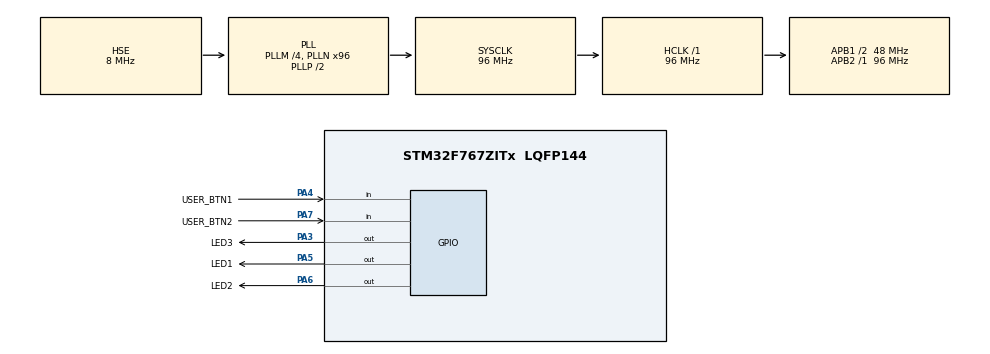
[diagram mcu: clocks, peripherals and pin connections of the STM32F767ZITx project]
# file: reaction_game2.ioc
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Mcu.Family=STM32F7
Mcu.Name=STM32F767ZITx
Mcu.Package=LQFP144
NVIC.PriorityGroup=NVIC_PRIORITYGROUP_4
PA3.GPIO_Label=LED3
PA3.Signal=GPIO_Output
PA4.GPIO_Label=USER_BTN1
PA4.Signal=GPIO_Input
PA5.GPIO_Label=LED1
PA5.Signal=GPIO_Output
PA6.GPIO_Label=LED2
PA6.Signal=GPIO_Output
PA7.GPIO_Label=USER_BTN2
PA7.Signal=GPIO_Input
PH0/OSC_IN.Mode=HSE-External-Oscillator
PH0/OSC_IN.Signal=RCC_OSC_IN
PH1/OSC_OUT.Mode=HSE-External-Oscillator
PH1/OSC_OUT.Signal=RCC_OSC_OUT
ProjectManager.HeapSize=0x200
ProjectManager.StackSize=0x400
ProjectManager.TargetToolchain=STM32CubeIDE
RCC.48MHZClocksFreq_Value=24000000
RCC.AHBFreq_Value=96000000
RCC.APB1CLKDivider=RCC_HCLK_DIV2
RCC.APB1Freq_Value=48000000
RCC.APB1TimFreq_Value=96000000
RCC.APB2Freq_Value=96000000
RCC.APB2TimFreq_Value=96000000
RCC.CortexFreq_Value=96000000
RCC.HCLKFreq_Value=96000000
RCC.HSE_VALUE=8000000
RCC.HSI_VALUE=16000000
RCC.PLLM=4
RCC.PLLMUL=RCC_PLL_MUL9
RCC.PLLN=96
RCC.PLLQ=4
RCC.PLLSourceVirtual=RCC_PLLSOURCE_HSE
RCC.PRESCALERUSB=RCC_USBCLKSOURCE_PLL_DIV1_5
RCC.SYSCLKFreq_VALUE=96000000
RCC.SYSCLKSource=RCC_SYSCLKSOURCE_PLLCLK
RCC.SYSCLKSourceVirtual=RCC_SYSCLKSOURCE_PLLCLK
RCC.USBFreq_Value=48000000
RCC.VCOOutputFreq_Value=192000000
VP_TIM2_VS_ClockSourceINT.Mode=Internal
board=NUCLEO-F767ZI

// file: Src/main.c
/* USER CODE BEGIN Header */
/**
  ******************************************************************************
  * @file           : main.c
  * @brief          : Main program body
  ******************************************************************************
  * @attention
  *
  * Copyright (c) 2025 STMicroelectronics.
  * All rights reserved.
  *
  * This software is licensed under terms that can be found in the LICENSE file
  * in the root directory of this software component.
  * If no LICENSE file comes with this software, it is provided AS-IS.
  *
  ******************************************************************************
  */
/* USER CODE END Header */
#include "main.h"

TIM_HandleTypeDef htim2;

void SystemClock_Config(void);
static void MX_GPIO_Init(void);
static void MX_TIM2_Init(void);

/* USER CODE BEGIN 0 */
#include <stdio.h>
#include <stdlib.h>
#include <time.h>
int generateRandomNumber(int min, int max) {
  int range_size = max - min + 1;
  return min + (rand() % range_size);
}
/* USER CODE END 0 */

int main(void)
{
  /* USER CODE BEGIN 1 */
HAL_Init();  // This initializes the HAL library and sets up the SysTick timer
//SystemClock_Config();
//__enable_irq(); // Make sure global interrupts are enabled
MX_GPIO_Init();

srand(time(NULL));

//HAL_GPIO_WritePin(LED3_GPIO_Port, LED3_Pin, GPIO_PIN_RESET);

int randomNumber = generateRandomNumber(400, 8000);
uint32_t red_start = HAL_GetTick();

// Vent til tilfeldig tid er gått
while (HAL_GetTick() < randomNumber) {
  if(HAL_GetTick() > randomNumber){
    break;
  }
}

// Slå på reflex-LED (PB1)
HAL_GPIO_WritePin(LED3_GPIO_Port, LED3_Pin, GPIO_PIN_SET);

while (1) {
  GPIO_PinState b1 = HAL_GPIO_ReadPin(USER_BTN1_GPIO_Port, USER_BTN1_Pin);
  GPIO_PinState b2 = HAL_GPIO_ReadPin(USER_BTN2_GPIO_Port, USER_BTN2_Pin);

//Spelar 1 trykkjer fyrst
  if (b1 == GPIO_PIN_SET && b2 == GPIO_PIN_RESET) {
    HAL_GPIO_WritePin(LED1_GPIO_Port, LED1_Pin, GPIO_PIN_SET); // PA5
    break;
  }
//Spelar 2 trykkjer fyrst
  if (b2 == GPIO_PIN_SET && b1 == GPIO_PIN_RESET) {
    HAL_GPIO_WritePin(LED2_GPIO_Port, LED2_Pin, GPIO_PIN_SET); // PA6
    break;
  }
}
HAL_GPIO_WritePin(LED3_GPIO_Port, LED3_Pin, GPIO_PIN_RESET);
while(1){}

  /* USER CODE END 1 */

  /* MCU Configuration--------------------------------------------------------*/

  /* Reset of all peripherals, Initializes the Flash interface and the Systick. */
  HAL_Init();

  /* Configure the system clock */
  SystemClock_Config();

  /* Initialize all configured peripherals */
  MX_GPIO_Init();
  MX_TIM2_Init();

  /* Infinite loop */
  while (1)
  {

  }
}

void SystemClock_Config(void)
{
  RCC_OscInitTypeDef RCC_OscInitStruct = {0};
  RCC_ClkInitTypeDef RCC_ClkInitStruct = {0};

  /** Configure the main internal regulator output voltage
  */
  __HAL_RCC_PWR_CLK_ENABLE();
  __HAL_PWR_VOLTAGESCALING_CONFIG(PWR_REGULATOR_VOLTAGE_SCALE3);

  /** Initializes the RCC Oscillators according to the specified parameters
  * in the RCC_OscInitTypeDef structure.
  */
  RCC_OscInitStruct.OscillatorType = RCC_OSCILLATORTYPE_HSE;
  RCC_OscInitStruct.HSEState = RCC_HSE_ON;
  RCC_OscInitStruct.PLL.PLLState = RCC_PLL_ON;
  RCC_OscInitStruct.PLL.PLLSource = RCC_PLLSOURCE_HSE;
  RCC_OscInitStruct.PLL.PLLM = 4;
  RCC_OscInitStruct.PLL.PLLN = 96;
  RCC_OscInitStruct.PLL.PLLP = RCC_PLLP_DIV2;
  RCC_OscInitStruct.PLL.PLLQ = 4;
  RCC_OscInitStruct.PLL.PLLR = 2;
  if (HAL_RCC_OscConfig(&RCC_OscInitStruct) != HAL_OK)
  {
    Error_Handler();
  }

  /** Activate the Over-Drive mode
  */
  if (HAL_PWREx_EnableOverDrive() != HAL_OK)
  {
    Error_Handler();
  }

  /** Initializes the CPU, AHB and APB buses clocks
  */
  RCC_ClkInitStruct.ClockType = RCC_CLOCKTYPE_HCLK|RCC_CLOCKTYPE_SYSCLK
                              |RCC_CLOCKTYPE_PCLK1|RCC_CLOCKTYPE_PCLK2;
  RCC_ClkInitStruct.SYSCLKSource = RCC_SYSCLKSOURCE_PLLCLK;
  RCC_ClkInitStruct.AHBCLKDivider = RCC_SYSCLK_DIV1;
  RCC_ClkInitStruct.APB1CLKDivider = RCC_HCLK_DIV2;
  RCC_ClkInitStruct.APB2CLKDivider = RCC_HCLK_DIV1;

  if (HAL_RCC_ClockConfig(&RCC_ClkInitStruct, FLASH_LATENCY_3) != HAL_OK)
  {
    Error_Handler();
  }
}

static void MX_TIM2_Init(void)
{

  TIM_ClockConfigTypeDef sClockSourceConfig = {0};
  TIM_MasterConfigTypeDef sMasterConfig = {0};

  htim2.Instance = TIM2;
  htim2.Init.Prescaler = 0;
  htim2.Init.CounterMode = TIM_COUNTERMODE_UP;
  htim2.Init.Period = 4294967295;
  htim2.Init.ClockDivision = TIM_CLOCKDIVISION_DIV1;
  htim2.Init.AutoReloadPreload = TIM_AUTORELOAD_PRELOAD_DISABLE;
  if (HAL_TIM_Base_Init(&htim2) != HAL_OK)
  {
    Error_Handler();
  }
  sClockSourceConfig.ClockSource = TIM_CLOCKSOURCE_INTERNAL;
  if (HAL_TIM_ConfigClockSource(&htim2, &sClockSourceConfig) != HAL_OK)
  {
    Error_Handler();
  }
  sMasterConfig.MasterOutputTrigger = TIM_TRGO_RESET;
  sMasterConfig.MasterSlaveMode = TIM_MASTERSLAVEMODE_DISABLE;
  if (HAL_TIMEx_MasterConfigSynchronization(&htim2, &sMasterConfig) != HAL_OK)
  {
    Error_Handler();
  }

}

static void MX_GPIO_Init(void)
{
  GPIO_InitTypeDef GPIO_InitStruct = {0};

  /* GPIO Ports Clock Enable */
  __HAL_RCC_GPIOH_CLK_ENABLE();
  __HAL_RCC_GPIOA_CLK_ENABLE();

  /*Configure GPIO pin Output Level */
  HAL_GPIO_WritePin(GPIOA, LED3_Pin|LED1_Pin|LED2_Pin, GPIO_PIN_RESET);

  /*Configure GPIO pins : LED3_Pin LED1_Pin LED2_Pin */
  GPIO_InitStruct.Pin = LED3_Pin|LED1_Pin|LED2_Pin;
  GPIO_InitStruct.Mode = GPIO_MODE_OUTPUT_PP;
  GPIO_InitStruct.Pull = GPIO_NOPULL;
  GPIO_InitStruct.Speed = GPIO_SPEED_FREQ_LOW;
  HAL_GPIO_Init(GPIOA, &GPIO_InitStruct);

  /*Configure GPIO pins : USER_BTN1_Pin USER_BTN2_Pin */
  GPIO_InitStruct.Pin = USER_BTN1_Pin|USER_BTN2_Pin;
  GPIO_InitStruct.Mode = GPIO_MODE_INPUT;
  GPIO_InitStruct.Pull = GPIO_NOPULL;
  HAL_GPIO_Init(GPIOA, &GPIO_InitStruct);

}

void Error_Handler(void)
{
  __disable_irq();
  while (1)
  {
  }
}
